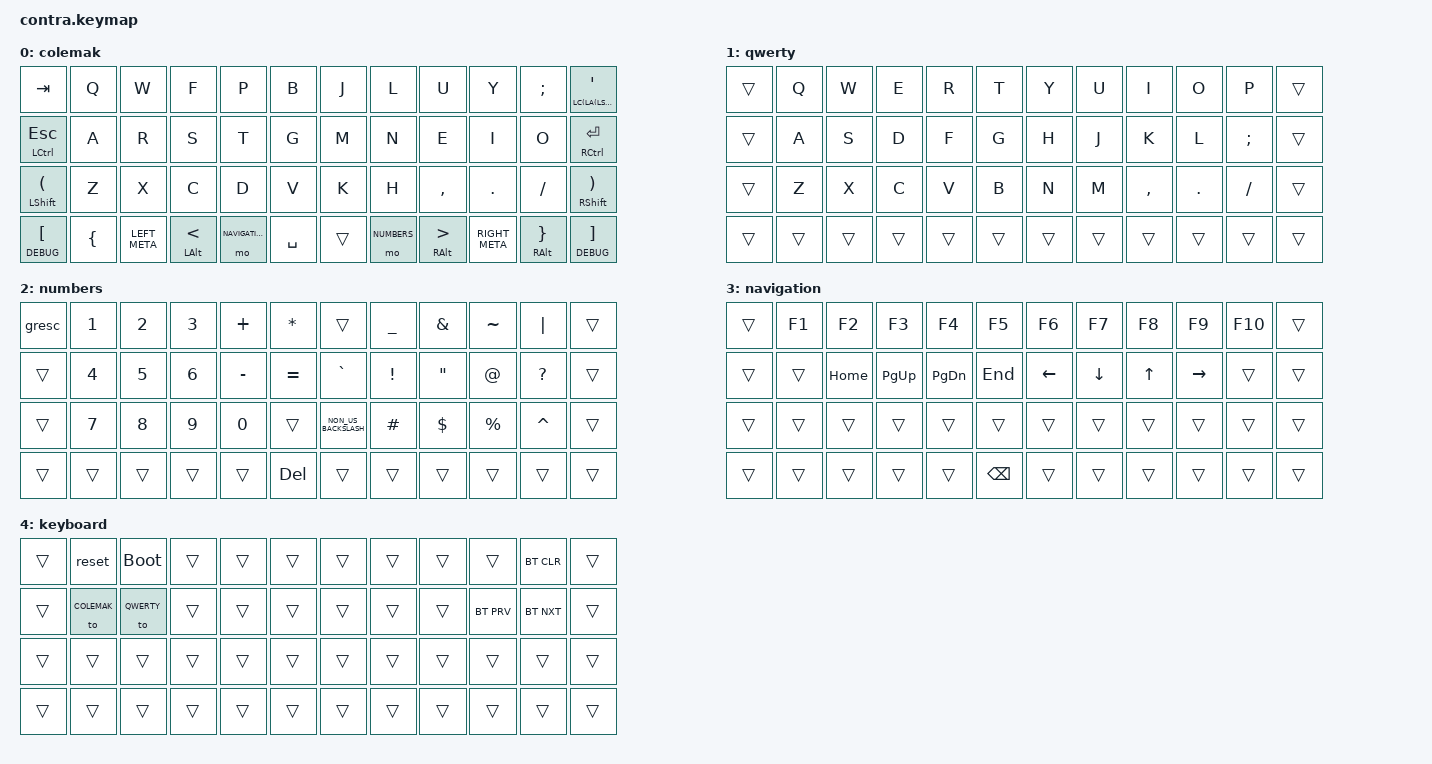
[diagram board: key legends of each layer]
/*
 * Copyright (c) 2021 The ZMK Contributors
 *
 * SPDX-License-Identifier: MIT
 */

#include <behaviors.dtsi>
#include <dt-bindings/zmk/keys.h>
#include <dt-bindings/zmk/bt.h>

#define COLEMAK  0
#define QWERTY 1
#define NUMBERS  2
#define NAVIGATION  3
#define DEBUG  4

/ {
    keymap {
        compatible = "zmk,keymap";

        colemak {
            bindings = <
&kp TAB &kp Q &kp W &kp F &kp P &kp B &kp J &kp L &kp U &kp Y &kp SEMICOLON &lt LC(LA(LSHIFT)) SINGLE_QUOTE
&mt LCTRL ESC &kp A &kp R &kp S &kp T &kp G &kp M &kp N &kp E &kp I &kp O &mt RIGHT_CONTROL RETURN
&mt LSHIFT LEFT_PARENTHESIS &kp Z &kp X &kp C &kp D &kp V &kp K &kp H &kp COMMA &kp DOT &kp FSLH &mt RIGHT_SHIFT RIGHT_PARENTHESIS
&lt DEBUG LEFT_BRACKET &kp LEFT_BRACE &kp LEFT_META &mt LEFT_ALT LESS_THAN &mo NAVIGATION &kp SPACE &trans &mo NUMBERS &mt RIGHT_ALT GREATER_THAN &kp RIGHT_META &mt RIGHT_ALT RIGHT_BRACE &lt DEBUG RIGHT_BRACKET
            >;
        };

        qwerty {
            bindings = <
&trans &kp Q &kp W &kp E &kp R &kp T &kp Y &kp U &kp I &kp O &kp P &trans
&trans &kp A &kp S &kp D &kp F &kp G &kp H &kp J &kp K &kp L &kp SEMI &trans
&trans &kp Z &kp X &kp C &kp V &kp B &kp N &kp M &kp COMMA  &kp DOT &kp FSLH &trans
&trans &trans &trans &trans  &trans &trans &trans &trans &trans &trans &trans &trans
            >;
        };

        numbers {
            bindings = <
&gresc &kp NUMBER_1 &kp NUMBER_2 &kp NUMBER_3 &kp PLUS &kp ASTERISK &trans &kp UNDERSCORE &kp AMPERSAND &kp TILDE &kp PIPE &trans
&trans &kp NUMBER_4 &kp NUMBER_5 &kp NUMBER_6 &kp MINUS &kp EQUAL &kp GRAVE &kp EXCLAMATION &kp DOUBLE_QUOTES &kp AT_SIGN &kp QMARK &trans
&trans &kp NUMBER_7 &kp NUMBER_8 &kp NUMBER_9 &kp NUMBER_0 &trans &kp NON_US_BACKSLASH &kp HASH &kp DOLLAR &kp PERCENT &kp CARET &trans
&trans &trans &trans &trans &trans &kp DELETE &trans &trans &trans &trans &trans &trans
            >;
        };

        navigation {
            bindings = <
&trans &kp F1 &kp F2 &kp F3 &kp F4 &kp F5 &kp F6 &kp F7 &kp F8 &kp F9 &kp F10 &trans
&trans &trans &kp HOME &kp PAGE_UP &kp PG_DN &kp END &kp LEFT_ARROW &kp DOWN_ARROW &kp UP_ARROW &kp RIGHT &trans &trans
&trans &trans &trans &trans &trans &trans &trans &trans &trans &trans &trans &trans
&trans &trans &trans &trans &trans &kp BACKSPACE &trans &trans &trans &trans &trans &trans
            >;
        };

        keyboard {
            bindings = <
&trans &reset &bootloader &trans &trans &trans &trans &trans &trans &trans &bt BT_CLR &trans
&trans &to COLEMAK &to QWERTY &trans &trans &trans &trans &trans &trans &bt BT_PRV &bt BT_NXT &trans
&trans &trans &trans &trans &trans &trans &trans &trans &trans &trans &trans &trans
&trans &trans &trans &trans &trans &trans &trans &trans &trans &trans &trans &trans
            >;
        };
    };
};
